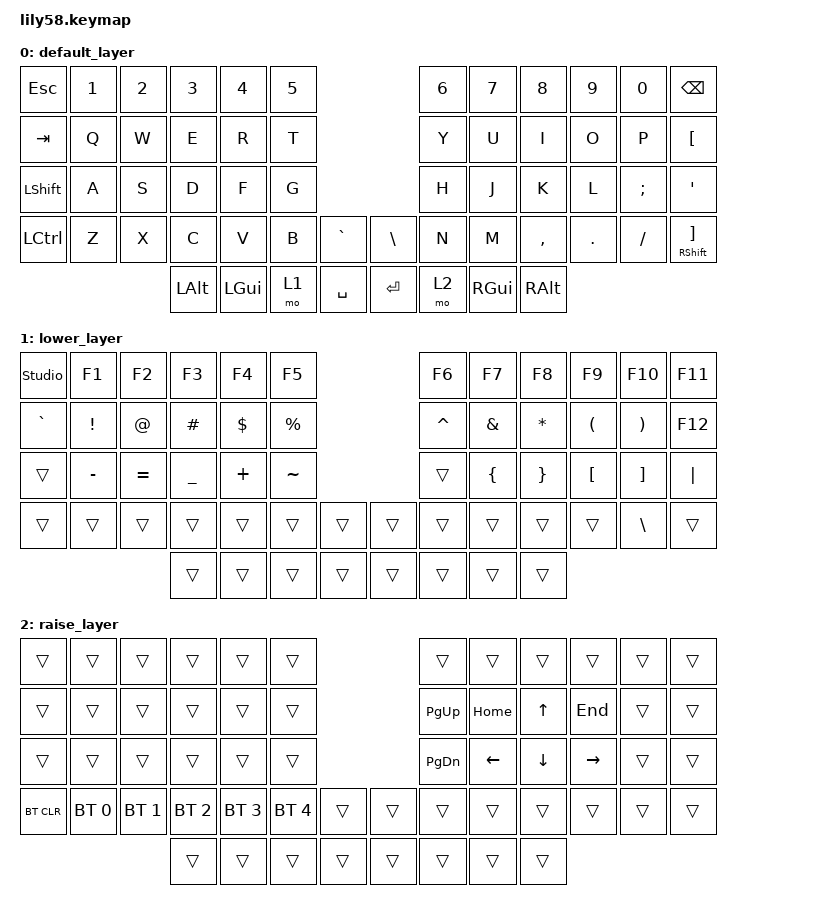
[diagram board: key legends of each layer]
#include <behaviors.dtsi>
#include <dt-bindings/zmk/keys.h>
#include <dt-bindings/zmk/bt.h>
#include <dt-bindings/zmk/outputs.h>

/ {
    keymap {
        compatible = "zmk,keymap";

        default_layer {
// ------------------------------------------------------------------------------------------------------------
// |  ESC  |  1  |  2  |  3   |  4   |  5   |                   |  6   |  7    |  8    |  9   |   0   | BSPC  |
// |  TAB  |  Q  |  W  |  E   |  R   |  T   |                   |  Y   |  U    |  I    |  O   |   P   | [ (Х) |
// | SHIFT |  A  |  S  |  D   |  F   |  G   |                   |  H   |  J    |  K    |  L   |   ;   |   '   |
// | CTRL  |  Z  |  X  |  C   |  V   |  B   |  ` (Ё) |  | \ (|) |  N   |  M    |   ,   |   .  |   /   | ] (Ъ) / SHIFT |
//                     | ALT  | GUI  | LOWER| SPACE  |  | ENTER | RAISE| GUI   | ALT   |
            bindings = <
&kp ESC   &kp N1 &kp N2 &kp N3   &kp N4   &kp N5                     &kp N6 &kp N7   &kp N8    &kp N9  &kp N0   &kp BSPC
&kp TAB   &kp Q  &kp W  &kp E    &kp R    &kp T                      &kp Y  &kp U    &kp I     &kp O   &kp P    &kp LBKT
&kp LSHFT &kp A  &kp S  &kp D    &kp F    &kp G                      &kp H  &kp J    &kp K     &kp L   &kp SEMI &kp SQT
&kp LCTRL &kp Z  &kp X  &kp C    &kp V    &kp B  &kp GRAVE &kp BSLH  &kp N  &kp M    &kp COMMA &kp DOT &kp FSLH &mt RSHFT RBKT
                        &kp LALT &kp LGUI &mo 1  &kp SPACE &kp ENTER &mo 2  &kp RGUI &kp RALT
            >;
        };

        lower_layer {
// ------------------------------------------------------------------------------------------------------------
// | UNLOCK|  F1 |  F2 |  F3  |  F4  |  F5  |                   |  F6  |  F7   |  F8   |  F9  |  F10  |  F11  |
// | GRAVE |  !  |  @  |  #   |  $   |  %   |                   |  ^   |  &    |  * |  (   |   )   |  F12  |
// |       |  -  |  =  |  _   |  +   |  ~   |                   |      |  {    |  }    |  [   |   ]   |  "|"  |
// |       |     |     |      |      |      |        |  |       |      |       |       |      |   \   |       |
//                     |      |      |      |        |  |       |      |       |       |
            bindings = <
&studio_unlock &kp F1    &kp F2    &kp F3    &kp F4    &kp F5                     &kp F6    &kp F7   &kp F8   &kp F9   &kp F10  &kp F11
&kp GRAVE      &kp EXCL  &kp AT    &kp HASH  &kp DLLR  &kp PRCNT                  &kp CARET &kp AMPS &kp STAR &kp LPAR &kp RPAR &kp F12
&trans         &kp MINUS &kp EQUAL &kp UNDER &kp PLUS  &kp TILDE                  &trans    &kp LBRC &kp RBRC &kp LBKT &kp RBKT &kp PIPE
&trans         &trans    &trans    &trans    &trans    &trans    &trans   &trans  &trans    &trans   &trans   &trans   &kp BSLH &trans
                                   &trans    &trans    &trans    &trans   &trans  &trans    &trans   &trans
            >;
        };

        raise_layer {
// ------------------------------------------------------------------------------------------------------------
// |       |     |     |      |      |      |                   |      |       |       |      |       |       |
// |       |     |     |      |      |      |                   | PgUp | Home  |   ^   | End  |       |       |
// |       |     |     |      |      |      |                   | PgDn |   <-  |   v   |  ->  |       |       |
// | BTCLR | BT1 | BT2 | BT3  | BT4  | BT5  |        |  |       |      |       |       |      |       |       |
//                     |      |      |      |        |  |       |      |       |       |
            bindings = <
&trans     &trans       &trans       &trans       &trans       &trans                           &trans    &trans   &trans   &trans    &trans &trans
&trans     &trans       &trans       &trans       &trans       &trans                           &kp PG_UP &kp HOME &kp UP   &kp END   &trans &trans
&trans     &trans       &trans       &trans       &trans       &trans                           &kp PG_DN &kp LEFT &kp DOWN &kp RIGHT &trans &trans
&bt BT_CLR &bt BT_SEL 0 &bt BT_SEL 1 &bt BT_SEL 2 &bt BT_SEL 3 &bt BT_SEL 4  &trans     &trans  &trans    &trans   &trans   &trans    &trans &trans
                                     &trans       &trans       &trans        &trans     &trans  &trans    &trans   &trans
            >;
        };
    };
};
